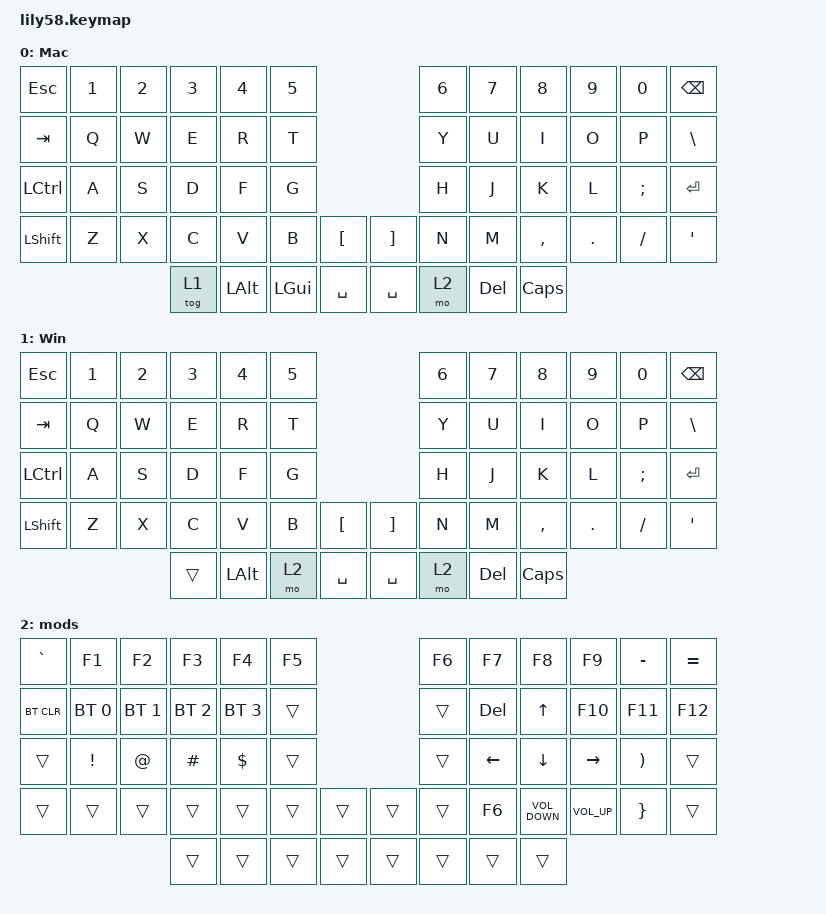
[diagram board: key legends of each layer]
/*
 * Copyright (c) 2020 The ZMK Contributors
 *
 * SPDX-License-Identifier: MIT
 */

#include <behaviors.dtsi>
#include <dt-bindings/zmk/bt.h>
#include <dt-bindings/zmk/keys.h>

/ {
    behaviors {
        back_tilde: back_tilde {
            compatible = "zmk,behavior-mod-morph";
            label = "BACK_TILDE";
            bindings = <&kp BACKSPACE>, <&kp TILDE>;

            #binding-cells = <0>;
            mods = <(MOD_LCTL|MOD_LSFT|MOD_LALT|MOD_LGUI|MOD_RCTL|MOD_RSFT|MOD_RALT|MOD_RGUI)>;
        };

        td_esc_grave_tilde: td_esc_grave_tilde {
            compatible = "zmk,behavior-tap-dance";
            label = "TD_ESC_GRAVE_TILDE";
            #binding-cells = <0>;
            bindings = <&kp ESCAPE>, <&kp GRAVE>, <&kp TILDE>;

            tapping-term-ms = <300>;
        };
    };

    keymap {
        compatible = "zmk,keymap";

        mac_layer {
            display-name = "Mac";
            bindings = <
&kp ESCAPE  &kp N1  &kp N2  &kp N3  &kp N4        &kp N5                                &kp N6  &kp N7      &kp N8        &kp N9   &kp N0    &kp BACKSPACE
&kp TAB     &kp Q   &kp W   &kp E   &kp R         &kp T                                 &kp Y   &kp U       &kp I         &kp O    &kp P     &kp BACKSLASH
&kp LCTRL   &kp A   &kp S   &kp D   &kp F         &kp G                                 &kp H   &kp J       &kp K         &kp L    &kp SEMI  &kp ENTER
&kp LSHFT   &kp Z   &kp X   &kp C   &kp V         &kp B         &kp LBKT     &kp RBKT   &kp N   &kp M       &kp COMMA     &kp DOT  &kp FSLH  &kp SQT
                            &tog 1  &kp LEFT_ALT  &kp LEFT_GUI  &kp SPACE    &kp SPACE  &mo 2   &kp DELETE  &kp CAPSLOCK
            >;
        };

        win_layer {
            // ------------------------------------------------------------------------------------------------------------
            // |  ESC  |  1  |  2  |  3   |  4   |  5   |                   |  6   |  7    |  8    |  9   |   0   |   `   |
            // |  TAB  |  Q  |  W  |  E   |  R   |  T   |                   |  Y   |  U    |  I    |  O   |   P   |   -   |
            // |  CTRL |  A  |  S  |  D   |  F   |  G   |                   |  H   |  J    |  K    |  L   |   ;   |   '   |
            // | SHIFT |  Z  |  X  |  C   |  V   |  B   |   "["  |  |  "]"  |  N   |  M    |  ,    |  .   |   /   | SHIFT |
            //                     | ALT  | GUI  | LOWER|  SPACE |  | ENTER | RAISE| BSPC  | GUI   |

            display-name = "Win";
            bindings = <
&kp ESCAPE  &kp N1  &kp N2  &kp N3  &kp N4        &kp N5                          &kp N6  &kp N7      &kp N8        &kp N9   &kp N0    &kp BACKSPACE
&kp TAB     &kp Q   &kp W   &kp E   &kp R         &kp T                           &kp Y   &kp U       &kp I         &kp O    &kp P     &kp BACKSLASH
&kp LCTRL   &kp A   &kp S   &kp D   &kp F         &kp G                           &kp H   &kp J       &kp K         &kp L    &kp SEMI  &kp ENTER
&kp LSHFT   &kp Z   &kp X   &kp C   &kp V         &kp B   &kp LBKT     &kp RBKT   &kp N   &kp M       &kp COMMA     &kp DOT  &kp FSLH  &kp SQT
                            &trans  &kp LEFT_ALT  &mo 2   &kp SPACE    &kp SPACE  &mo 2   &kp DELETE  &kp CAPSLOCK
            >;
        };

        mods_layer {
            // ------------------------------------------------------------------------------------------------------------
            // | BTCLR | BT1 | BT2 |  BT3 |  BT4 |  BT5 |                   |      |       |       |      |       |       |
            // |  F1   |  F2 |  F3 |  F4  |  F5  |  F6  |                   |  F7  |  F8   |  F9   |  F10 |  F11  |  F12  |
            // |   `   |  !  |  @  |  #   |  $   |  %   |                   |  ^   |  &    |  *    |  (   |   )   |   ~   |
            // |       |     |     |      |      |      |        |  |       |      |  _    |  +    |  {   |   }   |  "|"  |
            //                     |      |      |      |        |  |       |      |       |       |

            display-name = "mods";
            bindings = <
&kp GRAVE   &kp F1        &kp F2        &kp F3        &kp F4        &kp F5                    &kp F6  &kp F7          &kp F8             &kp F9           &kp MINUS  &kp EQUAL
&bt BT_CLR  &bt BT_SEL 0  &bt BT_SEL 1  &bt BT_SEL 2  &bt BT_SEL 3  &trans                    &trans  &kp DEL         &kp UP_ARROW       &kp F10          &kp F11    &kp F12
&trans      &kp EXCL      &kp AT        &kp HASH      &kp DOLLAR    &trans                    &trans  &kp LEFT_ARROW  &kp DOWN_ARROW     &kp RIGHT_ARROW  &kp RPAR   &trans
&trans      &trans        &trans        &trans        &trans        &trans  &trans    &trans  &trans  &kp F6          &kp C_VOLUME_DOWN  &kp C_VOLUME_UP  &kp RBRC   &trans
                                        &trans        &trans        &trans  &trans    &trans  &trans  &trans          &trans
            >;
        };
    };
};
